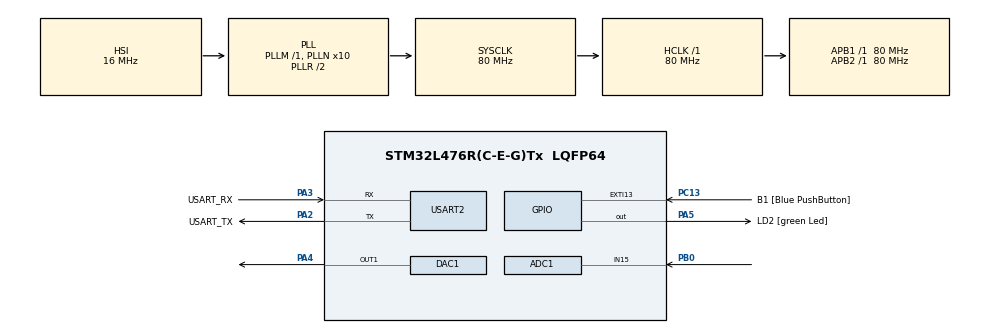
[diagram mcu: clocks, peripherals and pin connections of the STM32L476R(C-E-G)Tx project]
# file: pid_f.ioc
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ADC1.Channel-0\#ChannelRegularConversion=ADC_CHANNEL_15
ADC1.ExternalTrigConv=ADC_EXTERNALTRIG_T6_TRGO
ADC1.NbrOfConversionFlag=1
ADC1.OffsetNumber-0\#ChannelRegularConversion=ADC_OFFSET_NONE
ADC1.Rank-0\#ChannelRegularConversion=1
ADC1.SamplingTime-0\#ChannelRegularConversion=ADC_SAMPLETIME_47CYCLES_5
ADC1.master=1
Mcu.Family=STM32L4
Mcu.Name=STM32L476R(C-E-G)Tx
Mcu.Package=LQFP64
Mcu.UserConstants=TIM_PID_LOOP_PRESCALER,80;TIM_PID_LOOP_PERIOD,1000;TIM_DAC_PRESCALER,80;TIM_DAC_PERIOD,1000
NVIC.ADC1_2_IRQn=true\:0\:0\:false\:false\:true\:true\:true
NVIC.PriorityGroup=NVIC_PRIORITYGROUP_4
NVIC.USART2_IRQn=true\:0\:0\:false\:false\:true\:true\:true
PA13\ (JTMS-SWDIO).GPIO_Label=TMS
PA13\ (JTMS-SWDIO).Mode=Serial_Wire
PA13\ (JTMS-SWDIO).Signal=SYS_JTMS-SWDIO
PA14\ (JTCK-SWCLK).GPIO_Label=TCK
PA14\ (JTCK-SWCLK).Mode=Serial_Wire
PA14\ (JTCK-SWCLK).Signal=SYS_JTCK-SWCLK
PA2.GPIO_Label=USART_TX
PA2.GPIO_Mode=GPIO_MODE_AF_PP
PA2.GPIO_PuPd=GPIO_NOPULL
PA2.GPIO_Speed=GPIO_SPEED_FREQ_VERY_HIGH
PA2.Mode=Asynchronous
PA2.Signal=USART2_TX
PA3.GPIO_Label=USART_RX
PA3.GPIO_Mode=GPIO_MODE_AF_PP
PA3.GPIO_PuPd=GPIO_NOPULL
PA3.GPIO_Speed=GPIO_SPEED_FREQ_VERY_HIGH
PA3.Mode=Asynchronous
PA3.Signal=USART2_RX
PA4.Signal=COMP_DAC11_group
PA5.GPIO_Label=LD2 [green Led]
PA5.GPIO_ModeDefaultOutputPP=GPIO_MODE_OUTPUT_PP
PA5.GPIO_PuPd=GPIO_NOPULL
PA5.GPIO_Speed=GPIO_SPEED_FREQ_LOW
PA5.Signal=GPIO_Output
PB0.Signal=ADCx_IN15
PB3\ (JTDO-TRACESWO).GPIO_Label=SWO
PB3\ (JTDO-TRACESWO).Signal=SYS_JTDO-SWO
PC13.GPIO_Label=B1 [Blue PushButton]
PC13.GPIO_ModeDefaultEXTI=GPIO_MODE_IT_FALLING
PC13.GPIO_PuPd=GPIO_NOPULL
PC13.Signal=GPXTI13
PC14-OSC32_IN\ (PC14).Mode=LSE-External-Oscillator
PC14-OSC32_IN\ (PC14).Signal=RCC_OSC32_IN
PC15-OSC32_OUT\ (PC15).Mode=LSE-External-Oscillator
PC15-OSC32_OUT\ (PC15).Signal=RCC_OSC32_OUT
PH0-OSC_IN\ (PH0).Signal=RCC_OSC_IN
PH1-OSC_OUT\ (PH1).Signal=RCC_OSC_OUT
ProjectManager.HeapSize=0x200
ProjectManager.StackSize=0x400
ProjectManager.TargetToolchain=STM32CubeIDE
RCC.ADCFreq_Value=64000000
RCC.AHBFreq_Value=80000000
RCC.APB1Freq_Value=80000000
RCC.APB1TimFreq_Value=80000000
RCC.APB2Freq_Value=80000000
RCC.APB2TimFreq_Value=80000000
RCC.CortexFreq_Value=80000000
RCC.HCLKFreq_Value=80000000
RCC.HSE_VALUE=8000000
RCC.HSI_VALUE=16000000
RCC.MSI_VALUE=4000000
RCC.PLLN=10
RCC.PLLSourceVirtual=RCC_PLLSOURCE_HSI
RCC.PREFETCH_ENABLE=1
RCC.SYSCLKFreq_VALUE=80000000
RCC.SYSCLKSource=RCC_SYSCLKSOURCE_PLLCLK
RCC.USBFreq_Value=64000000
RCC.VCOOutputFreq_Value=160000000
SH.ADCx_IN15.0=ADC1_IN15,IN15-Single-Ended
SH.COMP_DAC11_group.0=DAC1_OUT1,DAC_OUT1
TIM6.Period=TIM_PID_LOOP_PERIOD
TIM6.Prescaler=TIM_PID_LOOP_PRESCALER
TIM6.TIM_MasterOutputTrigger=TIM_TRGO_UPDATE
TIM7.Period=TIM_DAC_PERIOD
TIM7.Prescaler=TIM_DAC_PRESCALER
USART2.VirtualMode-Asynchronous=VM_ASYNC
VP_TIM6_VS_ClockSourceINT.Mode=Enable_Timer
VP_TIM7_VS_ClockSourceINT.Mode=Enable_Timer
board=NUCLEO-L476RG

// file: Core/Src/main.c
/* USER CODE BEGIN Header */
/**
  ******************************************************************************
  * @file           : main.c
  * @brief          : Main program body
  ******************************************************************************
  * @attention
  *
  * <h2><center>&copy; Copyright (c) 2020 STMicroelectronics.
  * All rights reserved.</center></h2>
  *
  * This software component is licensed by ST under BSD 3-Clause license,
  * the "License"; You may not use this file except in compliance with the
  * License. You may obtain a copy of the License at:
  *                        opensource.org/licenses/BSD-3-Clause
  *
  ******************************************************************************
  */
/* USER CODE END Header */

#include "main.h"

/* USER CODE BEGIN Includes */
#include "stdio.h"
#include "pid.h"
/* USER CODE END Includes */

ADC_HandleTypeDef hadc1;

DAC_HandleTypeDef hdac1;

TIM_HandleTypeDef htim6;
TIM_HandleTypeDef htim7;

UART_HandleTypeDef huart2;

/* USER CODE BEGIN PV */

volatile int adc_flag;
volatile int adc_value;
volatile int dac_value;
volatile int dac_control;
volatile uint16_t dac_index;
volatile uint8_t dac_nperiod;
#define dac_nperiod_max 100 //programowy prescaler
int step_desired;
cpid_t pid;
uint16_t sin_wave[] = { 2048, 2112, 2176, 2239, 2302, 2364, 2424, 2483, 2541,
						2596, 2649, 2700, 2748, 2794, 2836, 2876, 2912, 2945, 2974, 2999, 3021,
						3039, 3053, 3063, 3069, 3071, 3069, 3063, 3053, 3039, 3021, 2999, 2974,
						2945, 2912, 2876, 2836, 2794, 2748, 2700, 2649, 2596, 2541, 2483, 2424,
						2364, 2302, 2239, 2176, 2112, 2048, 1983, 1919, 1856, 1793, 1731, 1671,
						1612, 1554, 1499, 1446, 1395, 1347, 1301, 1259, 1219, 1183, 1150, 1121,
						1096, 1074, 1056, 1042, 1032, 1026, 1024, 1026, 1032, 1042, 1056, 1074,
						1096, 1121, 1150, 1183, 1219, 1259, 1301, 1347, 1395, 1446, 1499, 1554,
						1612, 1671, 1731, 1793, 1856, 1919, 1983, };

/* USER CODE END PV */

void SystemClock_Config(void);
static void MX_GPIO_Init(void);
static void MX_USART2_UART_Init(void);
static void MX_ADC1_Init(void);
static void MX_DAC1_Init(void);
static void MX_TIM6_Init(void);
static void MX_TIM7_Init(void);
/* USER CODE BEGIN PFP */
int _write(int file, uint8_t *ptr, int len);
void HAL_ADC_ConvCpltCallback(ADC_HandleTypeDef* hadc);
/* USER CODE END PFP */

/* USER CODE BEGIN 0 */

void HAL_ADC_ConvCpltCallback(ADC_HandleTypeDef *hadc){
	if(hadc == &hadc1){
		adc_flag = 1;
		adc_value = HAL_ADC_GetValue(&hadc1);
	}

}

void HAL_TIM_PeriodElapsedCallback(TIM_HandleTypeDef *htim) {
	if (htim == &htim7) {
		dac_value = sin_wave[dac_index];
		++dac_nperiod;
		if (dac_nperiod >= dac_nperiod_max) {
			dac_nperiod = 0;
			++dac_index;
			if (dac_index >= 100)
				dac_index = 0;
		}
	}
}
/* USER CODE END 0 */

int main(void)
{

  /* MCU Configuration--------------------------------------------------------*/

  /* Reset of all peripherals, Initializes the Flash interface and the Systick. */
  HAL_Init();

  /* Configure the system clock */
  SystemClock_Config();

  /* Initialize all configured peripherals */
  MX_GPIO_Init();
  MX_USART2_UART_Init();
  MX_ADC1_Init();
  MX_DAC1_Init();
  MX_TIM6_Init();
  MX_TIM7_Init();

  /* Infinite loop */
  /* USER CODE BEGIN WHILE */
  HAL_DAC_SetValue(&hdac1,DAC_CHANNEL_1,DAC_ALIGN_12B_R,0);
  HAL_DAC_Start(&hdac1,DAC_CHANNEL_1);

  //PID LOOP
  HAL_TIM_Base_Start(&htim6);
  // DAC DESIDER VALUE
  HAL_TIM_Base_Start_IT(&htim7);

  HAL_ADC_Start_IT(&hadc1);

  pid_init(&pid, 0.04f, 3.94f, 0.98f, 10, 1);
  pid.p_max = pid_scale(&pid, 4095);
  pid.p_min = pid_scale(&pid, -4095);
  pid.i_max = pid_scale(&pid, 4095);
  pid.i_min = pid_scale(&pid, -4095);
  pid.d_max = pid_scale(&pid, 4095);
  pid.d_min = pid_scale(&pid, -4095);
  pid.total_max = pid_scale(&pid, 4095);
  pid.total_min = pid_scale(&pid, 0);

  while (1)
  {

	  if(adc_flag == 1){
		  adc_flag = 0;

		  dac_control = pid_calc(&pid,adc_value,dac_value);

		  HAL_DAC_SetValue(&hdac1, DAC_CHANNEL_1, DAC_ALIGN_12B_R, dac_control);
	  }

    /* USER CODE END WHILE */

  }
}

void SystemClock_Config(void)
{
  RCC_OscInitTypeDef RCC_OscInitStruct = {0};
  RCC_ClkInitTypeDef RCC_ClkInitStruct = {0};
  RCC_PeriphCLKInitTypeDef PeriphClkInit = {0};

  /** Initializes the CPU, AHB and APB busses clocks
  */
  RCC_OscInitStruct.OscillatorType = RCC_OSCILLATORTYPE_HSI;
  RCC_OscInitStruct.HSIState = RCC_HSI_ON;
  RCC_OscInitStruct.HSICalibrationValue = RCC_HSICALIBRATION_DEFAULT;
  RCC_OscInitStruct.PLL.PLLState = RCC_PLL_ON;
  RCC_OscInitStruct.PLL.PLLSource = RCC_PLLSOURCE_HSI;
  RCC_OscInitStruct.PLL.PLLM = 1;
  RCC_OscInitStruct.PLL.PLLN = 10;
  RCC_OscInitStruct.PLL.PLLP = RCC_PLLP_DIV7;
  RCC_OscInitStruct.PLL.PLLQ = RCC_PLLQ_DIV2;
  RCC_OscInitStruct.PLL.PLLR = RCC_PLLR_DIV2;
  if (HAL_RCC_OscConfig(&RCC_OscInitStruct) != HAL_OK)
  {
    Error_Handler();
  }
  /** Initializes the CPU, AHB and APB busses clocks
  */
  RCC_ClkInitStruct.ClockType = RCC_CLOCKTYPE_HCLK|RCC_CLOCKTYPE_SYSCLK
                              |RCC_CLOCKTYPE_PCLK1|RCC_CLOCKTYPE_PCLK2;
  RCC_ClkInitStruct.SYSCLKSource = RCC_SYSCLKSOURCE_PLLCLK;
  RCC_ClkInitStruct.AHBCLKDivider = RCC_SYSCLK_DIV1;
  RCC_ClkInitStruct.APB1CLKDivider = RCC_HCLK_DIV1;
  RCC_ClkInitStruct.APB2CLKDivider = RCC_HCLK_DIV1;

  if (HAL_RCC_ClockConfig(&RCC_ClkInitStruct, FLASH_LATENCY_4) != HAL_OK)
  {
    Error_Handler();
  }
  PeriphClkInit.PeriphClockSelection = RCC_PERIPHCLK_USART2|RCC_PERIPHCLK_ADC;
  PeriphClkInit.Usart2ClockSelection = RCC_USART2CLKSOURCE_PCLK1;
  PeriphClkInit.AdcClockSelection = RCC_ADCCLKSOURCE_PLLSAI1;
  PeriphClkInit.PLLSAI1.PLLSAI1Source = RCC_PLLSOURCE_HSI;
  PeriphClkInit.PLLSAI1.PLLSAI1M = 1;
  PeriphClkInit.PLLSAI1.PLLSAI1N = 8;
  PeriphClkInit.PLLSAI1.PLLSAI1P = RCC_PLLP_DIV7;
  PeriphClkInit.PLLSAI1.PLLSAI1Q = RCC_PLLQ_DIV2;
  PeriphClkInit.PLLSAI1.PLLSAI1R = RCC_PLLR_DIV2;
  PeriphClkInit.PLLSAI1.PLLSAI1ClockOut = RCC_PLLSAI1_ADC1CLK;
  if (HAL_RCCEx_PeriphCLKConfig(&PeriphClkInit) != HAL_OK)
  {
    Error_Handler();
  }
  /** Configure the main internal regulator output voltage
  */
  if (HAL_PWREx_ControlVoltageScaling(PWR_REGULATOR_VOLTAGE_SCALE1) != HAL_OK)
  {
    Error_Handler();
  }
}

static void MX_ADC1_Init(void)
{

  ADC_MultiModeTypeDef multimode = {0};
  ADC_ChannelConfTypeDef sConfig = {0};

  /** Common config
  */
  hadc1.Instance = ADC1;
  hadc1.Init.ClockPrescaler = ADC_CLOCK_ASYNC_DIV1;
  hadc1.Init.Resolution = ADC_RESOLUTION_12B;
  hadc1.Init.DataAlign = ADC_DATAALIGN_RIGHT;
  hadc1.Init.ScanConvMode = ADC_SCAN_DISABLE;
  hadc1.Init.EOCSelection = ADC_EOC_SINGLE_CONV;
  hadc1.Init.LowPowerAutoWait = DISABLE;
  hadc1.Init.ContinuousConvMode = DISABLE;
  hadc1.Init.NbrOfConversion = 1;
  hadc1.Init.DiscontinuousConvMode = DISABLE;
  hadc1.Init.NbrOfDiscConversion = 1;
  hadc1.Init.ExternalTrigConv = ADC_EXTERNALTRIG_T6_TRGO;
  hadc1.Init.ExternalTrigConvEdge = ADC_EXTERNALTRIGCONVEDGE_RISING;
  hadc1.Init.DMAContinuousRequests = DISABLE;
  hadc1.Init.Overrun = ADC_OVR_DATA_PRESERVED;
  hadc1.Init.OversamplingMode = DISABLE;
  if (HAL_ADC_Init(&hadc1) != HAL_OK)
  {
    Error_Handler();
  }
  /** Configure the ADC multi-mode
  */
  multimode.Mode = ADC_MODE_INDEPENDENT;
  if (HAL_ADCEx_MultiModeConfigChannel(&hadc1, &multimode) != HAL_OK)
  {
    Error_Handler();
  }
  /** Configure Regular Channel
  */
  sConfig.Channel = ADC_CHANNEL_15;
  sConfig.Rank = ADC_REGULAR_RANK_1;
  sConfig.SamplingTime = ADC_SAMPLETIME_47CYCLES_5;
  sConfig.SingleDiff = ADC_SINGLE_ENDED;
  sConfig.OffsetNumber = ADC_OFFSET_NONE;
  sConfig.Offset = 0;
  if (HAL_ADC_ConfigChannel(&hadc1, &sConfig) != HAL_OK)
  {
    Error_Handler();
  }

}

static void MX_DAC1_Init(void)
{

  DAC_ChannelConfTypeDef sConfig = {0};

  /** DAC Initialization
  */
  hdac1.Instance = DAC1;
  if (HAL_DAC_Init(&hdac1) != HAL_OK)
  {
    Error_Handler();
  }
  /** DAC channel OUT1 config
  */
  sConfig.DAC_SampleAndHold = DAC_SAMPLEANDHOLD_DISABLE;
  sConfig.DAC_Trigger = DAC_TRIGGER_NONE;
  sConfig.DAC_OutputBuffer = DAC_OUTPUTBUFFER_ENABLE;
  sConfig.DAC_ConnectOnChipPeripheral = DAC_CHIPCONNECT_DISABLE;
  sConfig.DAC_UserTrimming = DAC_TRIMMING_FACTORY;
  if (HAL_DAC_ConfigChannel(&hdac1, &sConfig, DAC_CHANNEL_1) != HAL_OK)
  {
    Error_Handler();
  }

}

static void MX_TIM6_Init(void)
{

  TIM_MasterConfigTypeDef sMasterConfig = {0};

  htim6.Instance = TIM6;
  htim6.Init.Prescaler = TIM_PID_LOOP_PRESCALER;
  htim6.Init.CounterMode = TIM_COUNTERMODE_UP;
  htim6.Init.Period = TIM_PID_LOOP_PERIOD;
  htim6.Init.AutoReloadPreload = TIM_AUTORELOAD_PRELOAD_DISABLE;
  if (HAL_TIM_Base_Init(&htim6) != HAL_OK)
  {
    Error_Handler();
  }
  sMasterConfig.MasterOutputTrigger = TIM_TRGO_UPDATE;
  sMasterConfig.MasterSlaveMode = TIM_MASTERSLAVEMODE_DISABLE;
  if (HAL_TIMEx_MasterConfigSynchronization(&htim6, &sMasterConfig) != HAL_OK)
  {
    Error_Handler();
  }

}

static void MX_TIM7_Init(void)
{

  TIM_MasterConfigTypeDef sMasterConfig = {0};

  htim7.Instance = TIM7;
  htim7.Init.Prescaler = TIM_DAC_PRESCALER;
  htim7.Init.CounterMode = TIM_COUNTERMODE_UP;
  htim7.Init.Period = TIM_DAC_PERIOD;
  htim7.Init.AutoReloadPreload = TIM_AUTORELOAD_PRELOAD_DISABLE;
  if (HAL_TIM_Base_Init(&htim7) != HAL_OK)
  {
    Error_Handler();
  }
  sMasterConfig.MasterOutputTrigger = TIM_TRGO_RESET;
  sMasterConfig.MasterSlaveMode = TIM_MASTERSLAVEMODE_DISABLE;
  if (HAL_TIMEx_MasterConfigSynchronization(&htim7, &sMasterConfig) != HAL_OK)
  {
    Error_Handler();
  }

}

static void MX_USART2_UART_Init(void)
{

  huart2.Instance = USART2;
  huart2.Init.BaudRate = 115200;
  huart2.Init.WordLength = UART_WORDLENGTH_8B;
  huart2.Init.StopBits = UART_STOPBITS_1;
  huart2.Init.Parity = UART_PARITY_NONE;
  huart2.Init.Mode = UART_MODE_TX_RX;
  huart2.Init.HwFlowCtl = UART_HWCONTROL_NONE;
  huart2.Init.OverSampling = UART_OVERSAMPLING_16;
  huart2.Init.OneBitSampling = UART_ONE_BIT_SAMPLE_DISABLE;
  huart2.AdvancedInit.AdvFeatureInit = UART_ADVFEATURE_NO_INIT;
  if (HAL_UART_Init(&huart2) != HAL_OK)
  {
    Error_Handler();
  }

}

static void MX_GPIO_Init(void)
{
  GPIO_InitTypeDef GPIO_InitStruct = {0};

  /* GPIO Ports Clock Enable */
  __HAL_RCC_GPIOC_CLK_ENABLE();
  __HAL_RCC_GPIOH_CLK_ENABLE();
  __HAL_RCC_GPIOA_CLK_ENABLE();
  __HAL_RCC_GPIOB_CLK_ENABLE();

  /*Configure GPIO pin Output Level */
  HAL_GPIO_WritePin(LD2_GPIO_Port, LD2_Pin, GPIO_PIN_RESET);

  /*Configure GPIO pin : B1_Pin */
  GPIO_InitStruct.Pin = B1_Pin;
  GPIO_InitStruct.Mode = GPIO_MODE_IT_FALLING;
  GPIO_InitStruct.Pull = GPIO_NOPULL;
  HAL_GPIO_Init(B1_GPIO_Port, &GPIO_InitStruct);

  /*Configure GPIO pin : LD2_Pin */
  GPIO_InitStruct.Pin = LD2_Pin;
  GPIO_InitStruct.Mode = GPIO_MODE_OUTPUT_PP;
  GPIO_InitStruct.Pull = GPIO_NOPULL;
  GPIO_InitStruct.Speed = GPIO_SPEED_FREQ_LOW;
  HAL_GPIO_Init(LD2_GPIO_Port, &GPIO_InitStruct);

}

void Error_Handler(void)
{
}

/************************ (C) COPYRIGHT STMicroelectronics *****END OF FILE****/
